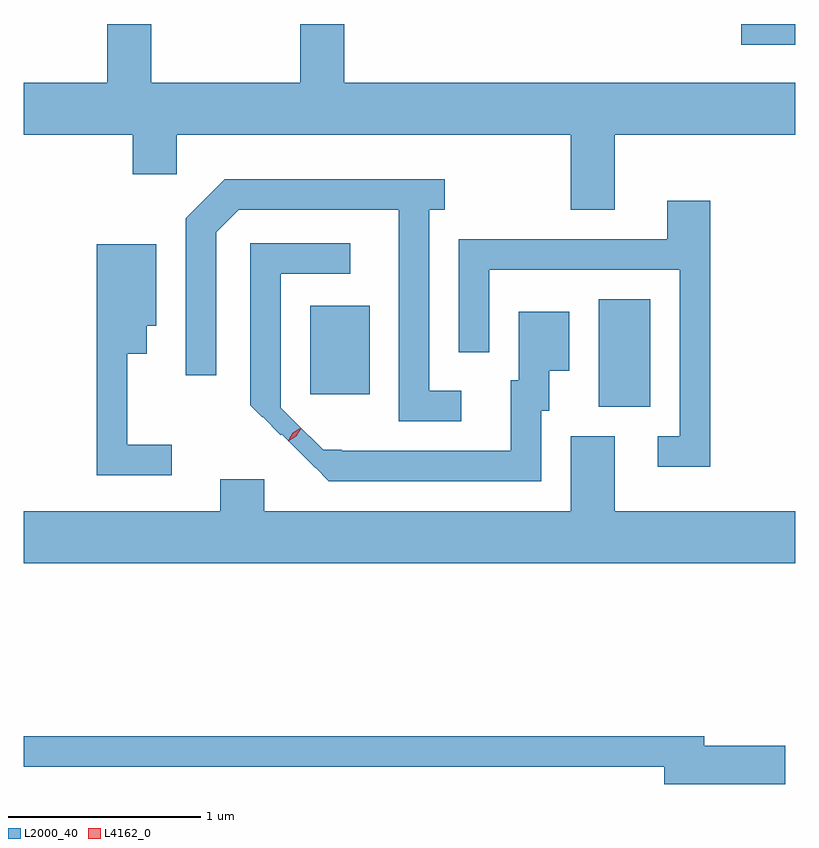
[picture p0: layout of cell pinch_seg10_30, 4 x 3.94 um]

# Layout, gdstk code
import gdstk
lib = gdstk.Library(unit=1e-6, precision=1e-09)
def R(c, l, rs):  # rectangles x0, y0, x1, y1
    for r in rs: c.add(gdstk.rectangle(r[:2], r[2:], *l))
def P(c, l, *ps):  # polygons
    for p in ps: c.add(gdstk.Polygon(p, *l))
L2000_40 = (2000, 40)
L4162_0 = (4162, 0)

pinch_seg10_30 = lib.new_cell('pinch_seg10_30')
R(pinch_seg10_30, L2000_40, [(601.946,2165.786,602.214,2166.344), (600.451,2165.851,600.759,2166.309), (602.686,2167.661,602.966,2167.769)])
P(pinch_seg10_30, L2000_40, [(602.029,2167.196),(602.966,2167.196),(602.966,2167.464),(600.629,2167.464),(600.629,2167.769),(600.401,2167.769),(600.401,2167.464),(599.629,2167.464),(599.629,2167.769),(599.401,2167.769),(599.401,2167.464),(598.966,2167.464),(598.966,2167.196),(599.531,2167.196),(599.531,2166.991),(599.759,2166.991),(599.759,2167.196),(601.801,2167.196),(601.801,2166.806),(602.029,2166.806)],
  [(601.233,2165.869),(601.069,2165.869),(601.069,2166.806),(601.148,2166.806),(601.148,2166.964),(600.009,2166.964),(599.806,2166.762),(599.806,2165.948),(599.964,2165.948),(599.964,2166.689),(600.082,2166.806),(600.911,2166.806),(600.911,2165.711),(601.233,2165.711)],
  [(602.524,2166.854),(602.301,2166.854),(602.301,2166.654),(601.221,2166.654),(601.221,2166.068),(601.379,2166.068),(601.379,2166.496),(602.366,2166.496),(602.366,2165.634),(602.253,2165.634),(602.253,2165.476),(602.524,2165.476)],
  [(601.649,2165.766),(601.689,2165.766),(601.689,2165.971),(601.794,2165.971),(601.794,2166.279),(601.531,2166.279),(601.531,2165.924),(601.491,2165.924),(601.491,2165.559),(600.615,2165.559),(600.615,2165.564),(600.519,2165.564),(600.45,2165.632),(600.449,2165.63),(600.299,2165.78),(600.299,2166.476),(600.658,2166.476),(600.658,2166.634),(600.141,2166.634),(600.141,2165.794),(600.204,2165.731),(600.205,2165.733),(600.3,2165.638),(600.304,2165.643),(600.477,2165.47),(600.478,2165.471),(600.548,2165.401),(601.649,2165.401)],
  [(599.733,2165.589),(599.504,2165.589),(599.504,2166.061),(599.604,2166.061),(599.604,2166.206),(599.654,2166.206),(599.654,2166.629),(599.346,2166.629),(599.346,2165.431),(599.733,2165.431)],
  [(602.966,2165.244),(602.029,2165.244),(602.029,2165.634),(601.801,2165.634),(601.801,2165.244),(600.214,2165.244),(600.214,2165.409),(599.986,2165.409),(599.986,2165.244),(598.966,2165.244),(598.966,2164.976),(602.966,2164.976)],
  [(602.914,2164.029),(602.494,2164.029),(602.494,2164.079),(598.966,2164.079),(598.966,2163.921),(602.286,2163.921),(602.286,2163.831),(602.914,2163.831)])
P(pinch_seg10_30, L4162_0, [(600.338,2165.608),(600.338,2165.609),(600.364,2165.649),(600.403,2165.675),(600.404,2165.675),(600.404,2165.674),(600.378,2165.634),(600.339,2165.608)],
  [(600.34,2165.615),(600.34,2165.616),(600.361,2165.651),(600.396,2165.673),(600.397,2165.673),(600.397,2165.672),(600.376,2165.637),(600.341,2165.615)])

lib.write_gds('pinch_seg10_30.gds')
